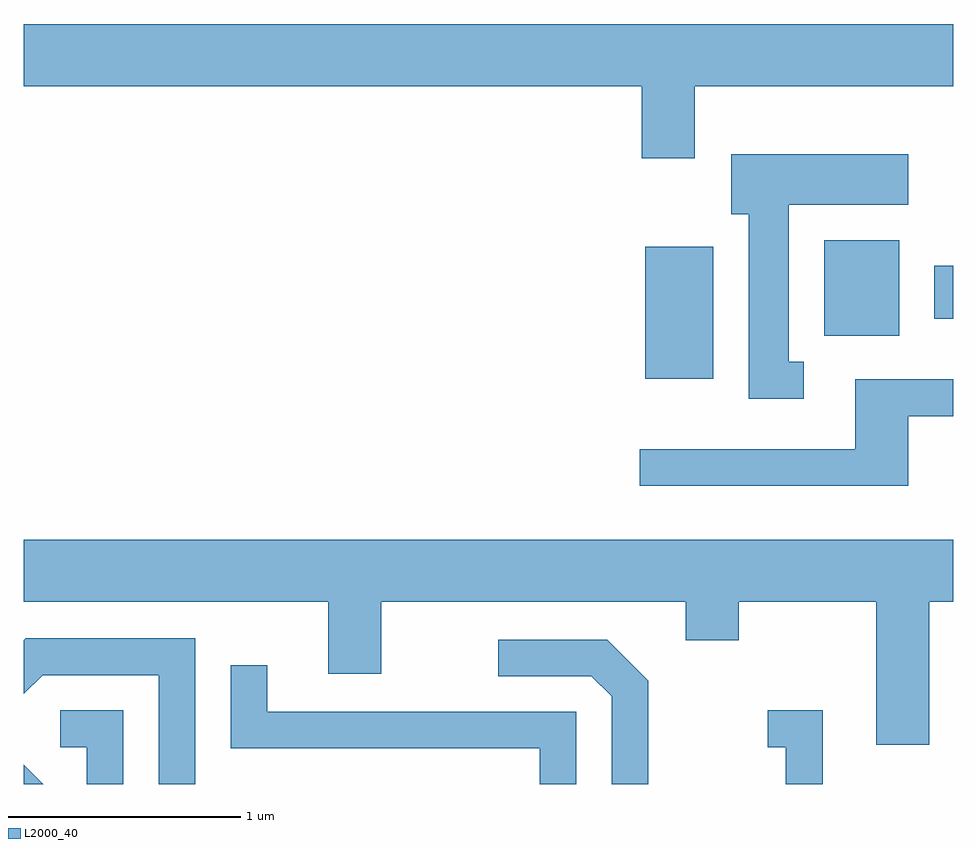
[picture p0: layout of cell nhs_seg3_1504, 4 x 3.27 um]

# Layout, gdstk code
import gdstk
lib = gdstk.Library(unit=1e-6, precision=1e-09)
def R(c, l, rs):  # rectangles x0, y0, x1, y1
    for r in rs: c.add(gdstk.rectangle(r[:2], r[2:], *l))
def P(c, l, *ps):  # polygons
    for p in ps: c.add(gdstk.Polygon(p, *l))
L2000_40 = (2000, 40)

nhs_seg3_1504 = lib.new_cell('nhs_seg3_1504')
R(nhs_seg3_1504, L2000_40, [(232.286,1133.636,232.579,1134.204), (233.056,1133.821,233.379,1134.234), (233.531,1133.896,233.611,1134.124)])
P(nhs_seg3_1504, L2000_40, [(232.499,1134.896),(233.611,1134.896),(233.611,1135.164),(229.611,1135.164),(229.611,1134.896),(232.271,1134.896),(232.271,1134.586),(232.499,1134.586)],
  [(232.968,1133.709),(232.904,1133.709),(232.904,1134.386),(233.419,1134.386),(233.419,1134.604),(232.656,1134.604),(232.656,1134.346),(232.731,1134.346),(232.731,1133.551),(232.968,1133.551)],
  [(233.419,1133.476),(233.611,1133.476),(233.611,1133.634),(233.191,1133.634),(233.191,1133.334),(232.263,1133.334),(232.263,1133.176),(233.419,1133.176)],
  [(233.509,1132.676),(233.611,1132.676),(233.611,1132.944),(229.611,1132.944),(229.611,1132.676),(230.921,1132.676),(230.921,1132.366),(231.149,1132.366),(231.149,1132.676),(232.461,1132.676),(232.461,1132.511),(232.689,1132.511),(232.689,1132.676),(233.281,1132.676),(233.281,1132.061),(233.509,1132.061)],
  [(230.349,1132.519),(229.619,1132.519),(229.611,1132.511),(229.611,1132.28),(229.692,1132.361),(230.191,1132.361),(230.191,1131.892),(230.349,1131.892)],
  [(232.299,1132.337),(232.122,1132.514),(231.653,1132.514),(231.653,1132.356),(232.054,1132.356),(232.141,1132.269),(232.141,1131.892),(232.299,1131.892)],
  [(231.989,1132.204),(230.659,1132.204),(230.659,1132.403),(230.501,1132.403),(230.501,1132.046),(231.831,1132.046),(231.831,1131.892),(231.989,1131.892)],
  [(230.039,1132.209),(229.768,1132.209),(229.768,1132.051),(229.881,1132.051),(229.881,1131.892),(230.039,1131.892)],
  [(233.049,1132.209),(232.813,1132.209),(232.813,1132.051),(232.891,1132.051),(232.891,1131.892),(233.049,1131.892)],
  [(229.611,1131.975),(229.611,1131.892),(229.694,1131.892)])

lib.write_gds('nhs_seg3_1504.gds')
